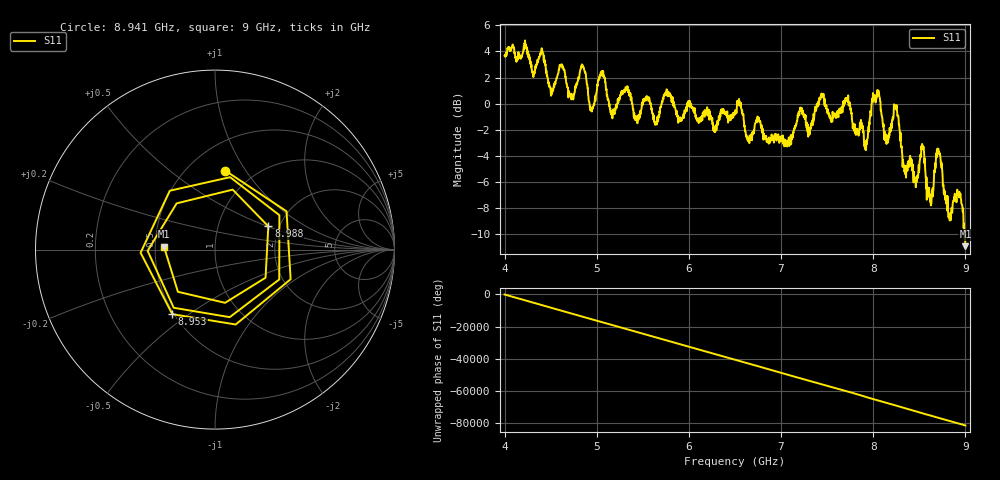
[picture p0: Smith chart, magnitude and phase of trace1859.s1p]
! Created with skrf 1.8.0 (http://scikit-rf.org).
# Hz S RI R 50.0
!freq ReS11 ImS11
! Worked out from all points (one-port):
!   1601 points, 4 GHz to 9 GHz, reference 50 ohm
!   lowest |S11| = -10.9 dB at 9 GHz (marker M1), VSWR 1.80, Z = 27.8 + j1.03 ohm
!   |S11| at or under -10 dB: 8.991863 GHz to end of sweep
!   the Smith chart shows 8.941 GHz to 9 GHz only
!   S11 on the Smith chart (normalised r, x): 8.941 GHz: 0.74, +0.81; 8.953 GHz: 0.49, -0.43; 8.988 GHz: 1.75, +0.51; 9 GHz: 0.56, +0.02
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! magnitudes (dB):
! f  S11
! 4 GHz  3.7
! 4.403 GHz  4.2
! 4.506 GHz  0.8
! 4.625 GHz  3.0
! 4.725 GHz  0.3
! 4.856 GHz  2.8
! 4.947 GHz  -0.6
! 5.053 GHz  2.5
! 5.169 GHz  -1.1
! 5.25 GHz  0.4
! 5.875 GHz  -1.0
! 6.5 GHz  -0.5
! 7.125 GHz  -2.4
! 7.441 GHz  0.5
! 7.75 GHz  -0.2
! 7.916 GHz  -3.2
! 8.022 GHz  0.4
! 8.144 GHz  -3.1
! 8.247 GHz  -0.4
! 8.375 GHz  -4.6
! 8.534 GHz  -3.4
! 8.625 GHz  -7.8
! 8.706 GHz  -3.4
! 8.819 GHz  -8.7
! 8.941 GHz  -7.1
! 8.953 GHz  -7.3
! 8.988 GHz  -9.8
! 9 GHz  -10.9
